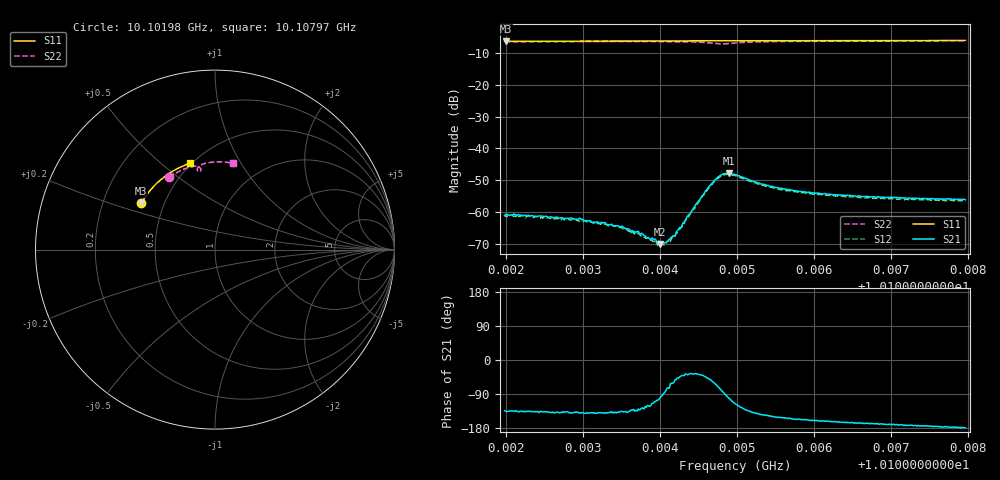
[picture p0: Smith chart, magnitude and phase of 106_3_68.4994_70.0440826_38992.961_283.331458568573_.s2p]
#  HZ  S  RI  R  50.00
! Rohde & Schwarz Vector Network Analyzer
! Rohde-Schwarz,ZNB20-2Port,1311601062101988,3.16
! Created: UTC 3/20/2024, 5:08:25 PM
! freq[Hz]  re:S11  im:S11  re:S21  im:S21  re:S12  im:S12  re:S22  im:S22
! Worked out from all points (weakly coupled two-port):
!   401 points, 10.10198 GHz to 10.10797 GHz, reference 50 ohm
!   highest |S21| = -47.87 dB at 10.1049 GHz (marker M1); lowest = -70.2 dB at 10.10401 GHz (marker M2)
!   lowest |S11| = -6.3 dB at 10.102 GHz (marker M3), VSWR 2.88, Z = 18.6 + j12.5 ohm
!   |S11| at or under -10 dB: nowhere
!   |S22| runs from -7.1 to -6.2 dB; largest |S21 - S12| = 0.0004
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1.0101985e10  -0.4112 0.2571  -0.000609 -0.000632  -0.000537 -0.000692  -0.2566 0.4023
1.0102e10  -0.4106 0.2577  -0.000643 -0.00065  -0.000538 -0.000662  -0.2559 0.4028
1.0102299e10  -0.4015 0.2736  -0.000626 -0.000625  -0.000574 -0.000641  -0.2395 0.4137
1.0102988e10  -0.378 0.3083  -0.00057 -0.000487  -0.000511 -0.000483  -0.2004 0.4363
1.0103512e10  -0.3584 0.3334  -0.000427 -0.000417  -0.000397 -0.00039  -0.168 0.4507
1.0103751e10  -0.3488 0.3444  -0.000281 -0.000336  -0.000257 -0.000341  -0.1521 0.4564
1.0103856e10  -0.3444 0.349  -0.000204 -0.000334  -0.000146 -0.000356  -0.1449 0.4587
1.0103916e10  -0.3421 0.3517  -0.000148 -0.000333  -8.82e-05 -0.000329  -0.1407 0.46
1.0103991e10  -0.3389 0.355  -8.13e-05 -0.000338  -3.83e-05 -0.000295  -0.1354 0.4613
1.0104006e10  -0.3384 0.3556  -4.94e-05 -0.000306  -1.72e-05 -0.000312  -0.134 0.4617
1.0104081e10  -0.3352 0.3587  5.21e-05 -0.000323  9.41e-05 -0.000298  -0.1285 0.4629
1.0104185e10  -0.3307 0.3634  0.000215 -0.000354  0.000251 -0.000311  -0.1202 0.4642
1.010429e10  -0.3262 0.3678  0.000466 -0.000403  0.000458 -0.000353  -0.1113 0.4648
1.0104619e10  -0.3113 0.3813  0.00157 -0.00171  0.00164 -0.00148  -0.0814 0.4537
1.0104709e10  -0.3073 0.3847  0.00153 -0.00272  0.0017 -0.00245  -0.0784 0.4436
1.0104799e10  -0.3032 0.3884  0.000696 -0.00374  0.00101 -0.0035  -0.0839 0.435
1.0104904e10  -0.2983 0.3923  -0.000834 -0.00395  -0.000479 -0.00385  -0.0953 0.437
1.0104979e10  -0.2952 0.3952  -0.00163 -0.00349  -0.00127 -0.00349  -0.099 0.4449
1.0105458e10  -0.272 0.413  -0.00216 -0.00129  -0.00194 -0.00144  -0.0699 0.4756
1.0105982e10  -0.2457 0.4307  -0.00186 -0.000709  -0.00171 -0.000834  -0.0323 0.4847
1.0106984e10  -0.1923 0.4595  -0.00162 -0.000295  -0.00155 -0.000444  0.0346 0.4884
1.0107972e10  -0.1366 0.4812  -0.00155 -3.8e-05  -0.00146 -0.000192  0.0982 0.4822
